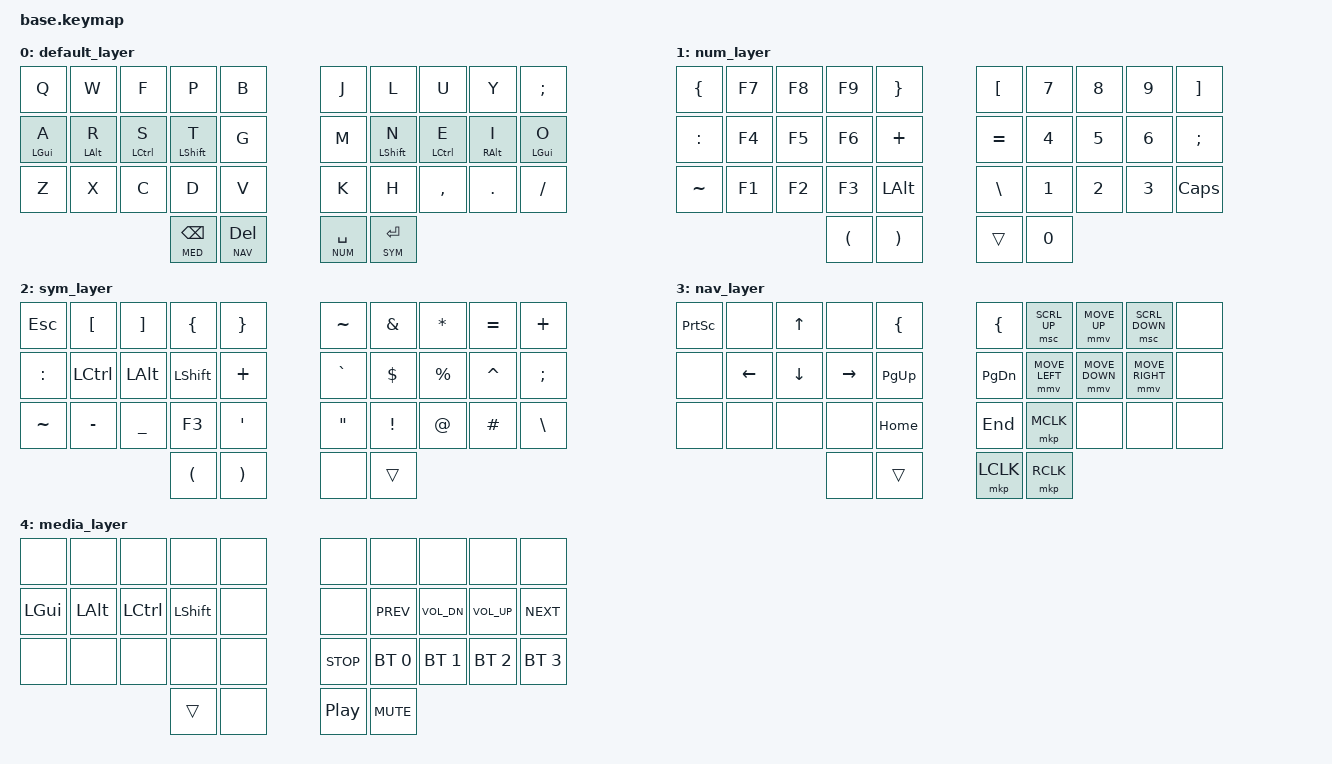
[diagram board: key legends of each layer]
#include <behaviors.dtsi>
#include <dt-bindings/zmk/keys.h>
#include <dt-bindings/zmk/bt.h>
#include <dt-bindings/zmk/pointing.h>
#include <mouse.dtsi>

// The default keymap is roughly on Miryoku layout
// (https://github.com/manna-harbour/miryoku).
// Customize on your own on the config folder.

#define BASE    0
#define NUM     1
#define SYM     2
#define NAV     3
#define MED     4
//#define FUN     5

#define ZMK_POINTING_DEFAULT_MOVE_VAL 1500  // default: 600
#define ZMK_POINTING_DEFAULT_SCRL_VAL 20    // default: 10

/ {
    behaviors {
        hm: homerow_mods {
            compatible = "zmk,behavior-hold-tap";
            label = "HOMEROW_MODS";
            #binding-cells = <2>;
            tapping-term-ms = <200>;
            quick-tap-ms = <0>;
            flavor = "tap-preferred";
            bindings = <&kp>, <&kp>;
        };
    };

    keymap {
        compatible = "zmk,keymap";

        default_layer {
            bindings = <
    &kp Q       &kp W       &kp F       &kp P       &kp B                      &kp J           &kp L       &kp U       &kp Y           &kp SEMI
    &hm LGUI A  &hm LALT R  &hm LCTRL S &hm LSHFT T &kp G                      &kp M           &hm LSHFT N &hm LCTRL E &hm RALT I      &hm LGUI O
    &kp Z       &kp X       &kp C       &kp D       &kp V                      &kp K           &kp H       &kp COMMA   &kp DOT         &kp FSLH
                                        &lt MED BSPC &lt NAV DEL               &lt NUM SPACE   &lt SYM RET
            >;
        };

        num_layer {
            bindings = <
    &kp LBRC    &kp F7      &kp F8      &kp F9     &kp RBRC                     &kp LBKT  &kp N7      &kp N8      &kp N9     &kp RBKT
    &kp COLON   &kp F4      &kp F5      &kp F6     &kp PLUS                     &kp EQUAL &kp N4      &kp N5      &kp N6     &kp SEMI
    &kp TILDE   &kp F1      &kp F2      &kp F3     &kp LALT                     &kp BSLH  &kp N1      &kp N2      &kp N3     &kp CAPS
                                        &kp LPAR   &kp RPAR                     &trans    &kp N0
            >;
        };

        sym_layer {
            bindings = <
    &kp ESC     &kp LBKT    &kp RBKT    &kp LBRC   &kp RBRC                     &kp TILDE &kp AMPS   &kp ASTRK &kp EQUAL &kp PLUS
    &kp COLON   &kp LCTRL   &kp LALT    &kp LSHFT  &kp PLUS                     &kp GRAVE &kp DLLR   &kp PRCNT &kp CARET &kp SEMI
    &kp TILDE   &kp MINUS   &kp UNDER   &kp F3     &kp SQT                      &kp DQT   &kp EXCL   &kp AT    &kp HASH  &kp BSLH
                                        &kp LPAR   &kp RPAR                     &none     &trans
            >;
        };

        nav_layer {
            bindings = <
    &kp PSCRN   &none       &kp UP      &none      &kp LBRC                        &kp LBRC  &msc SCRL_UP  &mmv MOVE_UP   &msc SCRL_DOWN  &none
    &none       &kp LEFT    &kp DOWN    &kp RIGHT  &kp PG_UP                       &kp PG_DN &mmv MOVE_LEFT &mmv MOVE_DOWN &mmv MOVE_RIGHT &none
    &none       &none       &none       &none      &kp HOME                        &kp END   &mkp MCLK      &none          &none           &none
                                        &none      &trans                          &mkp LCLK &mkp RCLK
            >;
        };

        media_layer {
            bindings = <
    &none       &none       &none       &none       &none                           &none       &none         &none         &none           &none
    &kp LGUI    &kp LALT    &kp LCTRL   &kp LSHFT   &none                           &none       &kp C_PREV    &kp C_VOL_DN  &kp C_VOL_UP    &kp C_NEXT
    &none       &none       &none       &none       &none                           &kp C_STOP  &bt BT_SEL 0  &bt BT_SEL 1  &bt BT_SEL 2    &bt BT_SEL 3     
                                        &trans      &none                           &kp C_PP    &kp C_MUTE     
            >;
        };

   /*     fun_layer {
            bindings = <
    &kp F12 &kp F7  &kp F8  &kp F9      &kp PSCRN                           &none   &none       &none       &none       &none
    &kp F11 &kp F4  &kp F5  &kp F6      &kp SLCK                            &none   &kp RSHFT   &kp RCTRL   &kp RALT    &kp RGUI
    &kp F10 &kp F1  &kp F2  &kp F3      &kp PAUSE_BREAK                     &none   &none       &none       &none       &none
                            &kp K_APP   &kp SPACE                           &none   &trans
            >;
        }; */
    };
};
